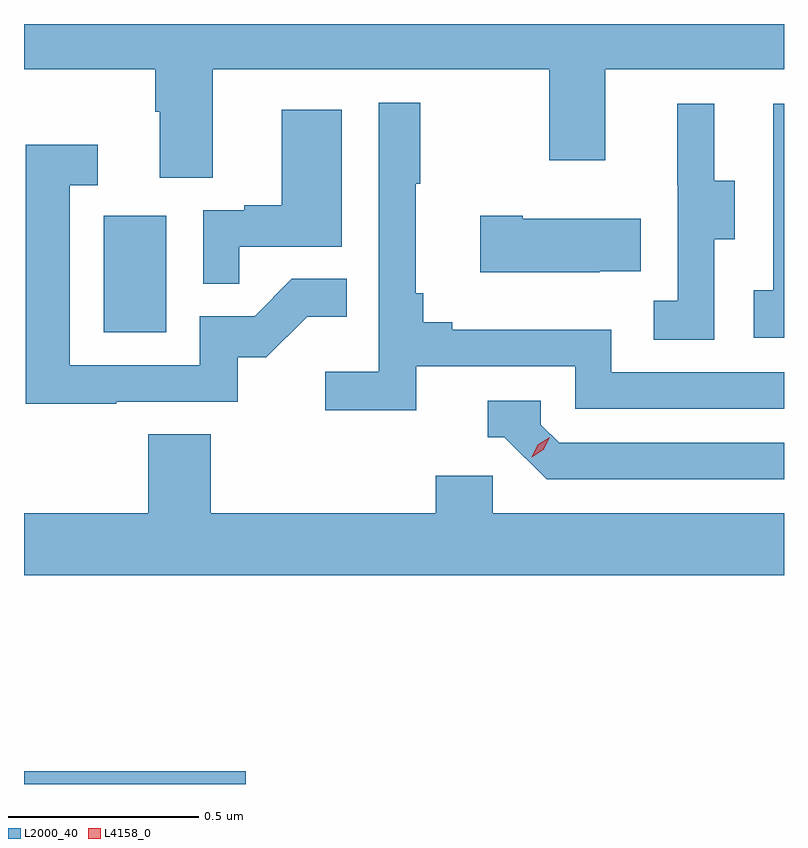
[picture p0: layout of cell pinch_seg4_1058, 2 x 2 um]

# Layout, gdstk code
import gdstk
lib = gdstk.Library(unit=1e-6, precision=1e-09)
def R(c, l, rs):  # rectangles x0, y0, x1, y1
    for r in rs: c.add(gdstk.rectangle(r[:2], r[2:], *l))
def P(c, l, *ps):  # polygons
    for p in ps: c.add(gdstk.Polygon(p, *l))
L2000_40 = (2000, 40)
L4158_0 = (4158, 0)

pinch_seg4_1058 = lib.new_cell('pinch_seg4_1058')
R(pinch_seg4_1058, L2000_40, [(817.346,764.303,817.93,764.336), (817.556,765.492,817.72,765.799)])
P(pinch_seg4_1058, L2000_40, [(817.843,766.184),(818.728,766.184),(818.728,765.945),(818.875,765.945),(818.875,766.184),(819.346,766.184),(819.346,766.303),(817.346,766.303),(817.346,766.184),(817.691,766.184),(817.691,766.072),(817.703,766.072),(817.703,765.898),(817.843,765.898)],
  [(818.378,765.402),(818.796,765.402),(818.796,765.291),(819.346,765.291),(819.346,765.387),(818.892,765.387),(818.892,765.499),(818.473,765.499),(818.473,765.518),(818.396,765.518),(818.396,765.595),(818.377,765.595),(818.377,765.883),(818.389,765.883),(818.389,766.096),(818.28,766.096),(818.28,765.388),(818.139,765.388),(818.139,765.286),(818.378,765.286)],
  [(819.346,766.093),(819.318,766.093),(819.318,765.602),(819.267,765.602),(819.267,765.477),(819.346,765.477)],
  [(819.162,765.736),(819.217,765.736),(819.217,765.891),(819.163,765.891),(819.163,766.093),(819.065,766.093),(819.065,765.879),(819.066,765.879),(819.066,765.575),(819.003,765.575),(819.003,765.472),(819.162,765.472)],
  [(817.913,765.717),(818.182,765.717),(818.182,766.078),(818.024,766.078),(818.024,765.826),(817.925,765.826),(817.925,765.813),(817.818,765.813),(817.818,765.619),(817.913,765.619)],
  [(817.589,765.309),(817.908,765.309),(817.908,765.426),(817.984,765.426),(818.091,765.533),(818.195,765.533),(818.195,765.632),(818.051,765.632),(817.953,765.534),(817.809,765.534),(817.809,765.405),(817.467,765.405),(817.467,765.879),(817.54,765.879),(817.54,765.985),(817.351,765.985),(817.351,765.304),(817.589,765.304)],
  [(818.861,765.653),(818.969,765.653),(818.969,765.79),(818.659,765.79),(818.659,765.798),(818.547,765.798),(818.547,765.65),(818.861,765.65)],
  [(819.346,765.201),(818.754,765.201),(818.706,765.249),(818.706,765.312),(818.567,765.312),(818.567,765.216),(818.61,765.216),(818.721,765.105),(819.346,765.105)],
  [(819.346,765.016),(818.58,765.016),(818.58,765.114),(818.429,765.114),(818.429,765.016),(817.838,765.016),(817.838,765.224),(817.673,765.224),(817.673,765.016),(817.346,765.016),(817.346,764.852),(819.346,764.852)])
P(pinch_seg4_1058, L4158_0, [(818.682,765.163),(818.682,765.164),(818.698,765.196),(818.729,765.216),(818.729,765.216),(818.729,765.216),(818.713,765.183),(818.682,765.163)])

lib.write_gds('pinch_seg4_1058.gds')
